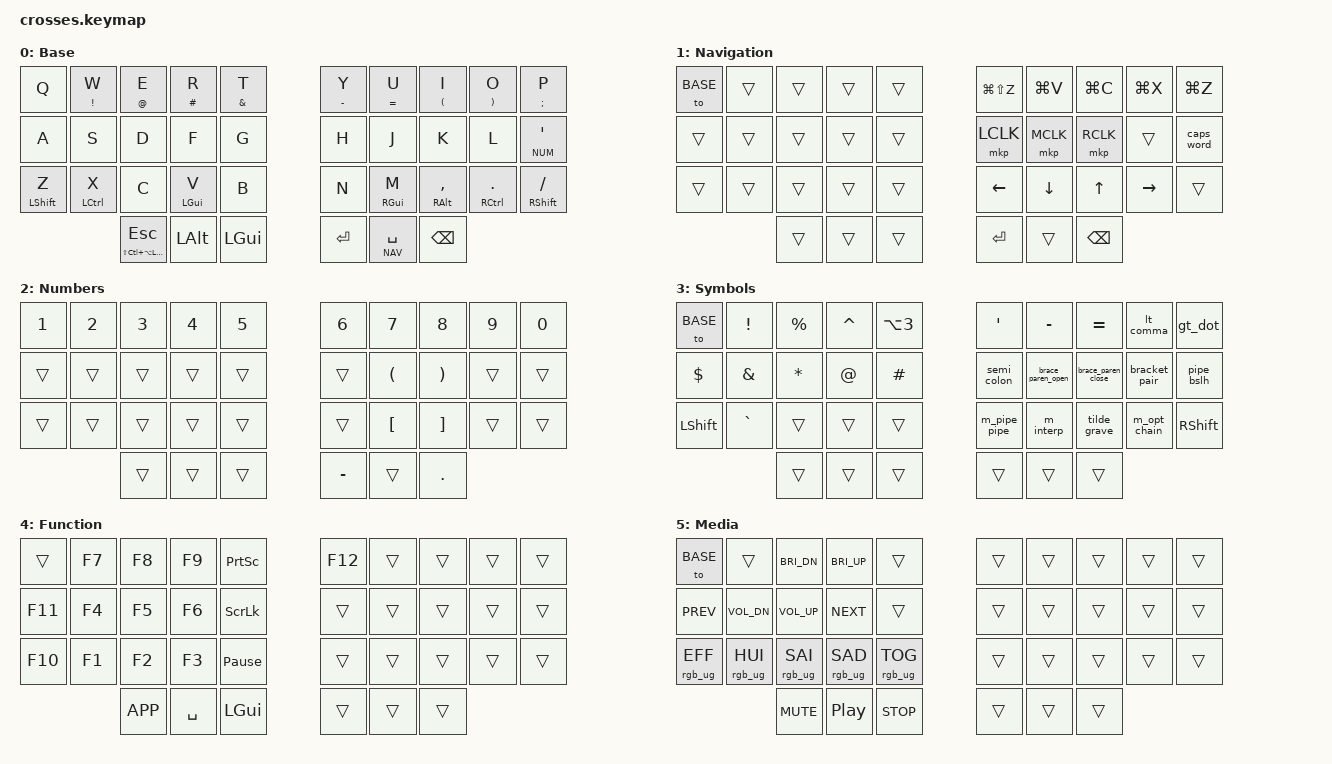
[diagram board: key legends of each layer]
#include <behaviors.dtsi>
#include <dt-bindings/zmk/bt.h>
#include <dt-bindings/zmk/keys.h>
#include <dt-bindings/zmk/pointing.h>
#include <dt-bindings/zmk/rgb.h>

#define BASE  0
#define NAV   1
#define NUM   2
#define SYM   3
#define FUN   4
#define MEDIA 5

&mt {
    tapping-term-ms = <200>;
    flavor = "tap-preferred";
    quick-tap-ms = <150>;
};

&lt {
    tapping-term-ms = <200>;
    flavor = "balanced";
    quick-tap-ms = <150>;
};

/ {
    behaviors {
        hm: homerow_mod {
            compatible = "zmk,behavior-hold-tap";
            #binding-cells = <2>;
            flavor = "balanced";
            tapping-term-ms = <280>;
            quick-tap-ms = <175>;
            require-prior-idle-ms = <150>;
            bindings = <&kp>, <&kp>;
        };

        caps_word: caps_word {
            compatible = "zmk,behavior-caps-word";
            #binding-cells = <0>;
            continue-list = <UNDERSCORE MINUS BACKSPACE DELETE>;
        };

        // Tap = one-shot layer, Hold = sticky layer w/ idle timeout (auto-revert)
        sl_tog: sl_tog {
            compatible = "zmk,behavior-hold-tap";
            #binding-cells = <2>;
            flavor = "tap-preferred";
            tapping-term-ms = <200>;
            bindings = <&media_sticky>, <&sl>;
        };

        // Sticky MEDIA layer: reverts on next keypress, or after release-after-ms idle
        media_sticky: media_sticky {
            compatible = "zmk,behavior-sticky-layer";
            #binding-cells = <1>;
            release-after-ms = <5000>;
        };

        // Opening delimiter: tap={, shift=(
        brace_paren_open: brace_paren_open {
            compatible = "zmk,behavior-mod-morph";
            #binding-cells = <0>;
            bindings = <&kp LBRC>, <&kp LPAR>;
            mods = <(MOD_LSFT|MOD_RSFT)>;
        };

        // Closing delimiter: tap=}, shift=)
        brace_paren_close: brace_paren_close {
            compatible = "zmk,behavior-mod-morph";
            #binding-cells = <0>;
            bindings = <&kp RBRC>, <&kp RPAR>;
            mods = <(MOD_LSFT|MOD_RSFT)>;
        };

        // Square brackets: tap=[, shift=]
        bracket_pair: bracket_pair {
            compatible = "zmk,behavior-mod-morph";
            #binding-cells = <0>;
            bindings = <&kp LBKT>, <&kp RBKT>;
            mods = <(MOD_LSFT|MOD_RSFT)>;
        };

        // Pipe primary, backslash on shift
        pipe_bslh: pipe_bslh {
            compatible = "zmk,behavior-mod-morph";
            #binding-cells = <0>;
            bindings = <&kp PIPE>, <&kp BSLH>;
            mods = <(MOD_LSFT|MOD_RSFT)>;
        };

        // Less-than primary, comma on shift
        lt_comma: lt_comma {
            compatible = "zmk,behavior-mod-morph";
            #binding-cells = <0>;
            bindings = <&kp LT>, <&kp COMMA>;
            mods = <(MOD_LSFT|MOD_RSFT)>;
        };

        // Greater-than primary, dot on shift
        gt_dot: gt_dot {
            compatible = "zmk,behavior-mod-morph";
            #binding-cells = <0>;
            bindings = <&kp GT>, <&kp DOT>;
            mods = <(MOD_LSFT|MOD_RSFT)>;
        };

        // Tilde primary, backtick on shift
        tilde_grave: tilde_grave {
            compatible = "zmk,behavior-mod-morph";
            #binding-cells = <0>;
            bindings = <&kp TILDE>, <&kp GRAVE>;
            mods = <(MOD_LSFT|MOD_RSFT)>;
        };

        // Semicolon primary, colon on shift
        semi_colon: semi_colon {
            compatible = "zmk,behavior-mod-morph";
            #binding-cells = <0>;
            bindings = <&kp SEMI>, <&kp COLON>;
            mods = <(MOD_LSFT|MOD_RSFT)>;
        };

    };

    macros {
        m_pipe_pipe: m_pipe_pipe {
            compatible = "zmk,behavior-macro";
            #binding-cells = <0>;
            bindings = <&kp PIPE &kp PIPE>;
        };

        m_interp: m_interp {
            compatible = "zmk,behavior-macro";
            #binding-cells = <0>;
            bindings = <&kp DLLR &kp LBRC &kp RBRC>;
        };

        m_rust_range: m_rust_range {
            compatible = "zmk,behavior-macro";
            #binding-cells = <0>;
            bindings = <&kp DOT &kp DOT &kp EQUAL>;
        };

        m_opt_chain: m_opt_chain {
            compatible = "zmk,behavior-macro";
            #binding-cells = <0>;
            bindings = <&kp QMARK &kp DOT>;
        };
    };

    combos {
        compatible = "zmk,combos";

        // D+F chord — Tab
        combo_tab {
            timeout-ms = <50>;
            key-positions = <12 13>;
            bindings = <&kp TAB>;
        };

        // Left thumb pair — one-shot SYM
        combo_sym {
            timeout-ms = <75>;
            key-positions = <31 32>;
            bindings = <&sl SYM>;
        };
        combo_fun {
            timeout-ms = <50>;
            key-positions = <33 35>;
            bindings = <&mo FUN>;
        };

        // Right thumb adjacent — MEDIA/Media (tap = one-shot, hold = sticky w/ timeout)
        combo_mouse {
            timeout-ms = <50>;
            key-positions = <34 35>;
            bindings = <&sl_tog MEDIA MEDIA>;
        };

    };

    keymap {
        compatible = "zmk,keymap";

        base_layer {
            display-name = "Base";
            // ┌──────────┬──────────┬──────────┬──────────┬──────────┐   ┌──────────┬──────────┬──────────┬──────────┬──────────┐
            // │    Q     │  W / !   │  E / @   │  R / #   │  T / &   │   │  Y / -   │  U / =   │  I / (   │  O / )   │  P / ;   │
            // ├──────────┼──────────┼──────────┼──────────┼──────────┤   ├──────────┼──────────┼──────────┼──────────┼──────────┤
            // │    A     │    S     │    D     │    F     │    G     │   │  H / ;   │    J     │    K     │    L     │    '     │
            // ├──────────┼──────────┼──────────┼──────────┼──────────┤   ├──────────┼──────────┼──────────┼──────────┼──────────┤
            // │  Z/Shft  │ X / ⌃   │    C     │  V / ⌘  │    B     │   │    N     │ M / ⌘   │  , / ⌥  │  . / ⌃  │  //Shft  │
            // └──────────┴──────────┴──────────┼──────────┼──────────┼───┤   ├──────────┼──────────┼──────────┴──────────┴──────────┘
            //                                  │ Esc/Hyp  │   Alt    │   ⌘   │  │  Return  │ Spc/Nav  │   Bspc   │
            //                                  └──────────┴──────────┴───────┘  └──────────┴──────────┴──────────┘
            bindings = <
&kp Q            &hm EXCL W    &hm AT E      &hm HASH R    &hm AMPS T       &hm MINUS Y   &hm EQUAL U   &hm LPAR I    &hm RPAR O    &hm SEMI P
&kp A            &kp S         &kp D         &kp F         &kp G            &kp H    &kp J         &kp K         &kp L         &lt NUM SQT
&hm LSHFT Z      &hm LCTRL X   &kp C         &hm LGUI V    &kp B            &kp N         &hm RGUI M    &hm RALT COMMA &hm RCTRL DOT &hm RSHFT FSLH
             &mt LS(LC(LA(LGUI))) ESC &kp LALT &kp LGUI                     &kp RET       &lt NAV SPACE &kp BSPC
            >;
        };

        nav_layer {
            display-name = "Navigation";
            // ┌──────────┬──────────┬──────────┬──────────┬──────────┐   ┌──────────┬──────────┬──────────┬──────────┬──────────┐
            // │  → Base  │          │          │          │          │   │  ⌘⇧Z     │   ⌘V     │   ⌘C     │   ⌘X     │   ⌘Z     │
            // ├──────────┼──────────┼──────────┼──────────┼──────────┤   ├──────────┼──────────┼──────────┼──────────┼──────────┤
            // │          │          │          │          │          │   │ L Click  │ M Click  │ R Click  │          │ CapsWord │
            // ├──────────┼──────────┼──────────┼──────────┼──────────┤   ├──────────┼──────────┼──────────┼──────────┼──────────┤
            // │          │          │          │          │          │   │   Left   │   Down   │    Up    │  Right   │          │
            // └──────────┴──────────┴──────────┼──────────┼──────────┼───┤   ├──────────┼──────────┼──────────┴──────────┴──────────┘
            //                                  │          │          │   │   │  Return  │ (held)   │   Bspc   │
            //                                  └──────────┴──────────┴───┘   └──────────┴──────────┴──────────┘
            bindings = <
&to BASE    &trans      &trans      &trans      &trans            &kp LG(LS(Z))  &kp LG(V)    &kp LG(C)    &kp LG(X)    &kp LG(Z)
&trans      &trans      &trans      &trans      &trans            &mkp LCLK      &mkp MCLK    &mkp RCLK    &trans       &caps_word
&trans      &trans      &trans      &trans      &trans            &kp LEFT       &kp DOWN     &kp UP       &kp RIGHT    &trans
            &trans      &trans      &trans                        &kp RET        &trans       &kp BSPC
            >;
        };

        num_layer {
            display-name = "Numbers";
            // ┌──────────┬──────────┬──────────┬──────────┬──────────┐   ┌──────────┬──────────┬──────────┬──────────┬──────────┐
            // │    1     │    2     │    3     │    4     │    5     │   │    6     │    7     │    8     │    9     │    0     │
            // ├──────────┼──────────┼──────────┼──────────┼──────────┤   ├──────────┼──────────┼──────────┼──────────┼──────────┤
            // │          │          │          │          │          │   │          │    (     │    )     │          │          │
            // ├──────────┼──────────┼──────────┼──────────┼──────────┤   ├──────────┼──────────┼──────────┼──────────┼──────────┤
            // │          │          │          │          │          │   │          │    [     │    ]     │          │          │
            // └──────────┴──────────┴──────────┼──────────┼──────────┼───┤   ├──────────┼──────────┼──────────┴──────────┴──────────┘
            //                                  │  (held)  │          │(h)│   │    -     │          │    .     │
            //                                  └──────────┴──────────┴───┘   └──────────┴──────────┴──────────┘
            bindings = <
&kp N1      &kp N2      &kp N3      &kp N4      &kp N5            &kp N6       &kp N7       &kp N8       &kp N9       &kp N0
&trans      &trans      &trans      &trans      &trans            &trans       &kp LPAR     &kp RPAR     &trans       &trans
&trans      &trans      &trans      &trans      &trans            &trans       &kp LBKT     &kp RBKT     &trans       &trans
            &trans      &trans      &trans                        &kp MINUS    &trans       &kp DOT
            >;
        };

        sym_layer {
            display-name = "Symbols";
            // ┌──────────┬──────────┬──────────┬──────────┬──────────┐   ┌──────────┬──────────┬──────────┬──────────┬──────────┐
            // │  → Base  │    !     │    %     │    ^     │    £     │   │    '     │    -     │    =     │    <     │    >     │
            // ├──────────┼──────────┼──────────┼──────────┼──────────┤   ├──────────┼──────────┼──────────┼──────────┼──────────┤
            // │    $     │    &     │    *     │    @     │    #     │   │  ; / :   │  { / (   │  } / )   │  [ / ]   │    |     │
            // ├──────────┼──────────┼──────────┼──────────┼──────────┤   ├──────────┼──────────┼──────────┼──────────┼──────────┤
            // │  LShft   │   ` / ~  │          │          │          │   │    ||    │   ${}    │  ~ / `   │    ?.    │  RShft   │
            // └──────────┴──────────┴──────────┼──────────┼──────────┼───┤   ├──────────┼──────────┼──────────┴──────────┴──────────┘
            //                                  │          │          │   │   │          │          │          │
            //                                  └──────────┴──────────┴───┘   └──────────┴──────────┴──────────┘
            //
            // Shift pairs:
            //   ' → "    - → _    = → +    , → <    . → >   (top row right, mod-morph)
            //   ; → :    { → (    } → )    [ → ]    | → \   (home row right, mod-morph)
            //   ` → ~                                        (bottom row left)
            bindings = <
&to BASE      &kp EXCL      &kp PRCNT     &kp CARET     &kp LA(N3)    &kp SQT           &kp MINUS         &kp EQUAL         &lt_comma         &gt_dot
&kp DLLR      &kp AMPS      &kp ASTRK     &kp AT        &kp HASH      &semi_colon       &brace_paren_open &brace_paren_close &bracket_pair     &pipe_bslh
&kp LSHFT     &kp GRAVE     &trans        &trans        &trans        &m_pipe_pipe      &m_interp         &tilde_grave      &m_opt_chain      &kp RSHFT
              &trans        &trans        &trans                      &trans            &trans            &trans
            >;
        };

        fun_layer {
            display-name = "Function";
            // ┌──────────┬──────────┬──────────┬──────────┬──────────┐   ┌──────────┬──────────┬──────────┬──────────┬──────────┐
            // │          │    F7    │    F8    │    F9    │  PrtSc   │   │   F12    │          │          │          │          │
            // ├──────────┼──────────┼──────────┼──────────┼──────────┤   ├──────────┼──────────┼──────────┼──────────┼──────────┤
            // │   F11    │    F4    │    F5    │    F6    │  ScLk    │   │          │          │          │          │          │
            // ├──────────┼──────────┼──────────┼──────────┼──────────┤   ├──────────┼──────────┼──────────┼──────────┼──────────┤
            // │   F10    │    F1    │    F2    │    F3    │  Pause   │   │          │          │          │          │          │
            // └──────────┴──────────┴──────────┼──────────┼──────────┼───┤   ├──────────┼──────────┼──────────┴──────────┴──────────┘
            //                                  │   Menu   │  Space   │ ⌘ │   │          │  (held)  │  (held)  │
            //                                  └──────────┴──────────┴───┘   └──────────┴──────────┴──────────┘
            bindings = <
&trans     &kp F7     &kp F8     &kp F9     &kp PSCRN        &kp F12       &trans        &trans        &trans        &trans
&kp F11    &kp F4     &kp F5     &kp F6     &kp SLCK         &trans        &trans        &trans        &trans        &trans
&kp F10    &kp F1     &kp F2     &kp F3     &kp PAUSE_BREAK  &trans        &trans        &trans        &trans        &trans
           &kp K_APP  &kp SPACE  &kp LGUI                    &trans        &trans        &trans
            >;
        };

        media_layer {
            display-name = "Media";
            // ┌──────────┬──────────┬──────────┬──────────┬──────────┐   ┌──────────┬──────────┬──────────┬──────────┬──────────┐
            // │  → Base  │          │  Bri Dn  │  Bri Up  │          │   │          │          │          │          │          │
            // ├──────────┼──────────┼──────────┼──────────┼──────────┤   ├──────────┼──────────┼──────────┼──────────┼──────────┤
            // │   Prev   │  Vol Dn  │  Vol Up  │   Next   │         │   │          │          │          │          │          │
            // ├──────────┼──────────┼──────────┼──────────┼──────────┤   ├──────────┼──────────┼──────────┼──────────┼──────────┤
            // │  RGB Eff │  Hue +   │  Sat +   │  Sat -   │  RGB Tog │   │          │          │          │          │          │
            // └──────────┴──────────┴──────────┼──────────┼──────────┼───┤   ├──────────┼──────────┼──────────┴──────────┴──────────┘
            //                                  │   Mute   │   Play   │ ⏹ │   │          │          │          │
            //                                  └──────────┴──────────┴───┘   └──────────┴──────────┴──────────┘
            bindings = <
&to BASE         &trans           &kp C_BRI_DN     &kp C_BRI_UP     &trans           &trans        &trans        &trans        &trans        &trans
&kp C_PREV       &kp C_VOL_DN     &kp C_VOL_UP     &kp C_NEXT       &trans           &trans        &trans        &trans        &trans        &trans
&rgb_ug RGB_EFF  &rgb_ug RGB_HUI  &rgb_ug RGB_SAI  &rgb_ug RGB_SAD  &rgb_ug RGB_TOG  &trans        &trans        &trans        &trans        &trans
                 &kp C_MUTE       &kp C_PP         &kp C_STOP                        &trans        &trans        &trans
            >;
        };

    };
};
